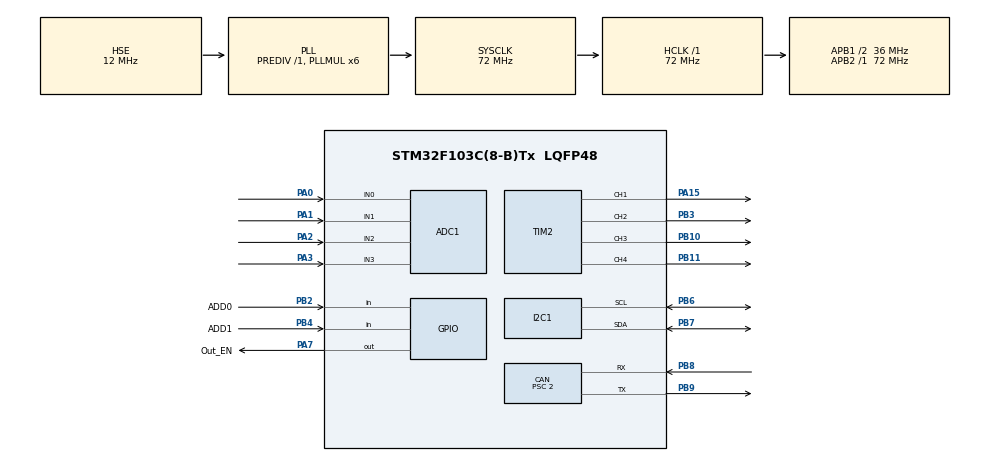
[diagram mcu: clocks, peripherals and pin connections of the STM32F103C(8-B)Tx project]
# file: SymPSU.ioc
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ADC1.Channel-0\#ChannelRegularConversion=ADC_CHANNEL_0
ADC1.NbrOfConversionFlag=1
ADC1.Rank-0\#ChannelRegularConversion=1
ADC1.SamplingTime-0\#ChannelRegularConversion=ADC_SAMPLETIME_1CYCLE_5
ADC1.master=1
CAN.BS1=CAN_BS1_15TQ
CAN.BS2=CAN_BS2_2TQ
CAN.CalculateBaudRate=1000000
CAN.CalculateTimeBit=999.99
CAN.CalculateTimeQuantum=55.55555555555556
CAN.Prescaler=2
I2C1.I2C_Mode=I2C_Fast
Mcu.Family=STM32F1
Mcu.Name=STM32F103C(8-B)Tx
Mcu.Package=LQFP48
NVIC.PriorityGroup=NVIC_PRIORITYGROUP_4
NVIC.USB_LP_CAN1_RX0_IRQn=true\:0\:0\:false\:false\:true\:true\:true
PA0-WKUP.Signal=ADCx_IN0
PA1.Signal=ADCx_IN1
PA13.Mode=Serial_Wire
PA13.Signal=SYS_JTMS-SWDIO
PA14.Mode=Serial_Wire
PA14.Signal=SYS_JTCK-SWCLK
PA15.Signal=S_TIM2_CH1_ETR
PA2.Signal=ADCx_IN2
PA3.Signal=ADCx_IN3
PA7.GPIO_Label=Out_EN
PA7.Signal=GPIO_Output
PB10.Signal=S_TIM2_CH3
PB11.Signal=S_TIM2_CH4
PB2.GPIO_Label=ADD0
PB2.Signal=GPIO_Input
PB3.Signal=S_TIM2_CH2
PB4.GPIO_Label=ADD1
PB4.Signal=GPIO_Input
PB6.Mode=I2C
PB6.Signal=I2C1_SCL
PB7.Mode=I2C
PB7.Signal=I2C1_SDA
PB8.Mode=CAN_Activate
PB8.Signal=CAN_RX
PB9.Mode=CAN_Activate
PB9.Signal=CAN_TX
PD0-OSC_IN.Mode=HSE-External-Oscillator
PD0-OSC_IN.Signal=RCC_OSC_IN
PD1-OSC_OUT.Mode=HSE-External-Oscillator
PD1-OSC_OUT.Signal=RCC_OSC_OUT
ProjectManager.HeapSize=0x200
ProjectManager.StackSize=0x400
ProjectManager.TargetToolchain=Other Toolchains (GPDSC)
RCC.ADCPresc=RCC_ADCPCLK2_DIV6
RCC.AHBFreq_Value=72000000
RCC.APB1CLKDivider=RCC_HCLK_DIV2
RCC.APB1Freq_Value=36000000
RCC.APB1TimFreq_Value=72000000
RCC.APB2Freq_Value=72000000
RCC.APB2TimFreq_Value=72000000
RCC.HCLKFreq_Value=72000000
RCC.HSE_VALUE=12000000
RCC.PLLMUL=RCC_PLL_MUL6
RCC.PLLSourceVirtual=RCC_PLLSOURCE_HSE
RCC.SYSCLKFreq_VALUE=72000000
RCC.SYSCLKSource=RCC_SYSCLKSOURCE_PLLCLK
RCC.USBFreq_Value=72000000
SH.ADCx_IN0.0=ADC1_IN0,IN0
SH.ADCx_IN1.0=ADC1_IN1,IN1
SH.ADCx_IN2.0=ADC1_IN2,IN2
SH.ADCx_IN3.0=ADC1_IN3,IN3
SH.S_TIM2_CH1_ETR.0=TIM2_CH1,PWM Generation1 CH1
SH.S_TIM2_CH2.0=TIM2_CH2,PWM Generation2 CH2
SH.S_TIM2_CH3.0=TIM2_CH3,PWM Generation3 CH3
SH.S_TIM2_CH4.0=TIM2_CH4,PWM Generation4 CH4
TIM2.Channel-PWM\ Generation1\ CH1=TIM_CHANNEL_1
TIM2.Channel-PWM\ Generation2\ CH2=TIM_CHANNEL_2
TIM2.Channel-PWM\ Generation3\ CH3=TIM_CHANNEL_3
TIM2.Channel-PWM\ Generation4\ CH4=TIM_CHANNEL_4
VP_TIM1_VS_ClockSourceINT.Mode=Internal
VP_TIM2_VS_ClockSourceINT.Mode=Internal
board=custom

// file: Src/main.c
/* USER CODE BEGIN Header */
/**
 ******************************************************************************
 * @file           : main.c
 * @brief          : Main program body
 ******************************************************************************
 * @attention
 *
 * 10mV Resolution
 * 1mA  Resolution
 *
 * https://hackaday.io/project/4154-bench-power-supply
 *
 ******************************************************************************
 */
/* USER CODE END Header */
#include "main.h"
#include "adc.h"
#include "can.h"
#include "i2c.h"
#include "tim.h"
#include "gpio.h"

/* USER CODE BEGIN Includes */
#include "modlab.h"

/* USER CODE END Includes */

/* USER CODE BEGIN PD */

#define V_POS 0
#define I_POS 1
#define V_NEG 2
#define I_NEG 3

#define PWM_MAX 0xFFFF

#define VOLTP_ZERO 0x0900
#define VOLTP_MAX 1173

#define AMPP_ZERO 0x0B50
#define AMPP_REF 0x90E0
#define AMPP_MAX 1270

#define VOLTN_ZERO 0x0A70
#define VOLTN_MAX 1174

#define AMPN_ZERO 0x0B50
#define AMPN_REF 0x90E0
#define AMPN_MAX 1270

#define ADCpv_factor 0.52
#define ADCpv_offset 0
#define ADCpc_factor 0.52
#define ADCpc_offset 0
#define ADCnv_factor 0.6
#define ADCnv_offset 0
#define ADCnc_factor 0.0308
#define ADCnc_offset 0

/* USER CODE END PD */

/* USER CODE BEGIN PV */
uint8_t address;

uint16_t setValues[4], getValues[4];
uint8_t outputState = 0;

uint32_t raw[4];

// https://controllerstech.com/can-protocol-in-stm32/
CAN_TxHeaderTypeDef TxHeader;
CAN_RxHeaderTypeDef RxHeader;
uint8_t TxData[8];
uint32_t TxMailbox;
uint8_t RxData[8];
uint8_t stat = 0;

uint8_t data1[1], data2[2];

/* USER CODE END PV */

void SystemClock_Config(void);

int main(void)
{

  /* MCU Configuration--------------------------------------------------------*/

  /* Reset of all peripherals, Initializes the Flash interface and the Systick. */
  HAL_Init();

  /* Configure the system clock */
  SystemClock_Config();

  /* Initialize all configured peripherals */
  MX_GPIO_Init();
  MX_ADC1_Init();
  MX_CAN_Init();
  MX_I2C1_Init();
  MX_TIM1_Init();
  MX_TIM2_Init();
  /* USER CODE BEGIN 2 */
  timer_init();

  HAL_CAN_Start(&hcan);

  // get address
  address = ADDR_SymPSU | (HAL_GPIO_ReadPin(GPIOB, GPIO_PIN_4)) | (HAL_GPIO_ReadPin(GPIOB, GPIO_PIN_2) << 1);

  // calibrate AD convertor
  while (HAL_ADCEx_Calibration_Start(&hadc1) != HAL_OK)
    ;

  HAL_TIM_PWM_Start(&htim2, TIM_CHANNEL_1); // Volt+
  HAL_TIM_PWM_Start(&htim2, TIM_CHANNEL_2); // Amp+
  HAL_TIM_PWM_Start(&htim2, TIM_CHANNEL_3); // Volt-
  HAL_TIM_PWM_Start(&htim2, TIM_CHANNEL_4); // Amp-

  CAN_Filter(address);
  HAL_CAN_ActivateNotification(&hcan, CAN_IT_RX_FIFO0_MSG_PENDING);
  __enable_irq();

  /* USER CODE END 2 */

  /* Infinite loop */
  /* USER CODE BEGIN WHILE */
  while (1)
  {
    HAL_GPIO_WritePin(Out_EN_GPIO_Port, Out_EN_Pin, outputState);
    Set_All();
    delay_us(10);
    for (uint8_t i = 0; i < 4; i++)
    {
      Read_Single(i);
    }

    /* USER CODE END WHILE */

  }
}

void SystemClock_Config(void)
{
  RCC_OscInitTypeDef RCC_OscInitStruct = {0};
  RCC_ClkInitTypeDef RCC_ClkInitStruct = {0};
  RCC_PeriphCLKInitTypeDef PeriphClkInit = {0};

  /** Initializes the RCC Oscillators according to the specified parameters
   * in the RCC_OscInitTypeDef structure.
   */
  RCC_OscInitStruct.OscillatorType = RCC_OSCILLATORTYPE_HSE;
  RCC_OscInitStruct.HSEState = RCC_HSE_ON;
  RCC_OscInitStruct.HSEPredivValue = RCC_HSE_PREDIV_DIV1;
  RCC_OscInitStruct.HSIState = RCC_HSI_ON;
  RCC_OscInitStruct.PLL.PLLState = RCC_PLL_ON;
  RCC_OscInitStruct.PLL.PLLSource = RCC_PLLSOURCE_HSE;
  RCC_OscInitStruct.PLL.PLLMUL = RCC_PLL_MUL6;
  if (HAL_RCC_OscConfig(&RCC_OscInitStruct) != HAL_OK)
  {
    Error_Handler();
  }
  /** Initializes the CPU, AHB and APB buses clocks
   */
  RCC_ClkInitStruct.ClockType = RCC_CLOCKTYPE_HCLK | RCC_CLOCKTYPE_SYSCLK | RCC_CLOCKTYPE_PCLK1 | RCC_CLOCKTYPE_PCLK2;
  RCC_ClkInitStruct.SYSCLKSource = RCC_SYSCLKSOURCE_PLLCLK;
  RCC_ClkInitStruct.AHBCLKDivider = RCC_SYSCLK_DIV1;
  RCC_ClkInitStruct.APB1CLKDivider = RCC_HCLK_DIV2;
  RCC_ClkInitStruct.APB2CLKDivider = RCC_HCLK_DIV1;

  if (HAL_RCC_ClockConfig(&RCC_ClkInitStruct, FLASH_LATENCY_2) != HAL_OK)
  {
    Error_Handler();
  }
  PeriphClkInit.PeriphClockSelection = RCC_PERIPHCLK_ADC;
  PeriphClkInit.AdcClockSelection = RCC_ADCPCLK2_DIV6;
  if (HAL_RCCEx_PeriphCLKConfig(&PeriphClkInit) != HAL_OK)
  {
    Error_Handler();
  }
}

/* USER CODE BEGIN 4 */

void HAL_CAN_RxFifo0MsgPendingCallback(CAN_HandleTypeDef *hcan)
{
  if (HAL_CAN_GetRxMessage(hcan, CAN_RX_FIFO0, &RxHeader, RxData) != HAL_OK)
  {
    Error_Handler();
  }

  if (RxData[0] == CMD_PING)
  {
    send_rec(address, RxData[0], stat);
  }
  else if (RxData[0] == CMD_SET16) // set 16bit
  {
    switch (RxData[1])
    {
    case V_POS_SET:
      setValues[0] = (RxData[2] << 8) | RxData[3];
      stat = 0;
      break;
    case I_POS_SET:
      setValues[1] = (RxData[2] << 8) | RxData[3];
      stat = 0;
      break;
    case V_NEG_SET:
      setValues[2] = (RxData[2] << 8) | RxData[3];
      stat = 0;
      break;
    case I_NEG_SET:
      setValues[3] = (RxData[2] << 8) | RxData[3];
      stat = 0;
      break;
    default: // Index Mismatch
      stat = 1;
      break;
    }
    send_rec(address, RxData[0], stat);
  }
  else if (RxData[0] == CMD_GET16) // get 16bit
  {
    switch (RxData[1])
    {
    case V_POS_GET:
      stat = 0;
      send_rec16(address, RxData[0], stat, getValues[0]);
      break;
    case I_POS_GET:
      stat = 0;
      send_rec16(address, RxData[0], stat, getValues[1]);
      break;
    case V_NEG_GET:
      stat = 0;
      send_rec16(address, RxData[0], stat, getValues[2]);
      break;
    case I_NEG_GET:
      stat = 0;
      send_rec16(address, RxData[0], stat, getValues[3]);
      break;
    default: // Index Mismatch
      stat = 1;
      send_rec(address, RxData[0], stat);
      break;
    }
  }
  else if (RxData[0] == CMD_ENOUT || RxData[0] == CMD_DISOUT) // set Output
  {
    outputState = !(RxData[0] & 0x01);
    stat = 0;
    send_rec(address, RxData[0], stat);
  }
  else // Unknown Command
  {
    stat = 0x40;
    send_rec(address, RxData[0], stat);
  }
}

void CAN_Filter(uint8_t addr)
{
  CAN_FilterTypeDef canfilterconfig;

  canfilterconfig.FilterActivation = CAN_FILTER_ENABLE;
  canfilterconfig.FilterBank = 0; // which filter bank to use from the assigned ones
  canfilterconfig.FilterFIFOAssignment = CAN_FILTER_FIFO0;
  canfilterconfig.FilterIdHigh = (0x500 | addr) << 5;
  canfilterconfig.FilterIdLow = 0;
  canfilterconfig.FilterMaskIdHigh = 0x1FFF;
  canfilterconfig.FilterMaskIdLow = 0xFFFF;
  canfilterconfig.FilterMode = CAN_FILTERMODE_IDMASK;
  canfilterconfig.FilterScale = CAN_FILTERSCALE_32BIT;
  canfilterconfig.SlaveStartFilterBank = 1; // how many filters to assign to the CAN1 (master can)

  HAL_CAN_ConfigFilter(&hcan, &canfilterconfig);
}

void Read_Single(uint8_t ch)
{
  switch (ch)
  {
  case 0:
    ADC_Select_CH0();
    break;
  case 1:
    ADC_Select_CH1();
    break;
  case 2:
    ADC_Select_CH2();
    break;
  case 3:
    ADC_Select_CH3();
    break;
  }

  uint8_t samples = 5;

  for (int i = 0; i < samples; i++)
  {
    delay_us(100);
    HAL_ADC_Start(&hadc1);
    HAL_ADC_PollForConversion(&hadc1, HAL_MAX_DELAY);
    raw[ch] += HAL_ADC_GetValue(&hadc1);
  }
  switch (ch)
  {
  case 0:
    getValues[ch] = ADCpv_factor * (uint16_t)(raw[ch] / samples) + ADCpv_offset;
    break;
  case 1:
    getValues[ch] = ADCpc_factor * (uint16_t)(raw[ch] / samples) + ADCpc_offset;
    break;
  case 2:
    getValues[ch] = ADCnv_factor * (uint16_t)(raw[ch] / samples) + ADCnv_offset;
    break;
  case 3:
    getValues[ch] = ADCnc_factor * (uint16_t)(raw[ch] / samples) + ADCnc_offset;
    break;
  }

  raw[ch] = 0;
}

void Set_All(void)
{
  Set_Output(V_POS, setValues[0]);
  Set_Output(I_POS, setValues[1]);
  Set_Output(V_NEG, setValues[2]);
  Set_Output(I_NEG, setValues[3]);
}

void Set_Output(uint8_t channel, uint16_t value)
{
  uint16_t temp1;
  double multiplicator;
  switch (channel)
  {
  case V_POS:
    if (value > VOLTP_MAX)
      value = VOLTP_MAX;
    multiplicator = (double)((PWM_MAX - VOLTP_ZERO) / (double)VOLTP_MAX) + 1.0;
    temp1 = (uint16_t)((double)value * multiplicator) + VOLTP_ZERO;
    TIM2->CCR1 = temp1;
    break;
  case I_POS:
    if (value > AMPP_MAX)
      value = AMPP_MAX;
    multiplicator = (double)((AMPP_REF - AMPP_ZERO) / (double)AMPP_MAX) + 1.8;
    temp1 = (uint16_t)((double)value * multiplicator) + AMPP_ZERO;
    TIM2->CCR2 = temp1;
    break;
  case V_NEG:
    if (value > VOLTN_MAX)
      value = VOLTN_MAX;
    multiplicator = (double)(((PWM_MAX - VOLTN_ZERO) / (double)VOLTN_MAX) / 1.5) + 1.0;
    temp1 = (uint16_t)((double)value * multiplicator) + VOLTN_ZERO;
    TIM2->CCR3 = temp1;
    break;
  case I_NEG:
    if(value > AMPN_MAX)
      value = AMPN_MAX;
    multiplicator = (double)((AMPN_REF - AMPN_ZERO) / (double)AMPN_MAX) + 1.8;
    temp1 = (uint16_t)((double)value * multiplicator) + AMPN_ZERO;
    TIM2->CCR4 = temp1;
    break;
  default:
    break;
  }
}

/* USER CODE END 4 */

void Error_Handler(void)
{
  __disable_irq();
  while (1)
  {
  }
}

/************************ (C) COPYRIGHT STMicroelectronics *****END OF FILE****/
